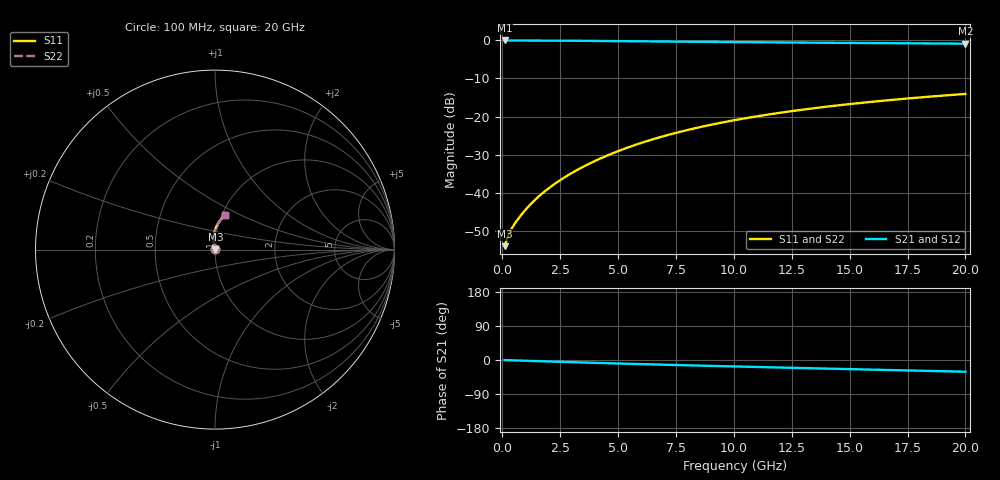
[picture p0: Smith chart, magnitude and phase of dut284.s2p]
! Touchstone file exported from HFSS 2024.1.0
!  File:  C:/UserFiles/LocalFiles/RDL_TSV_Batchsim/temp_RDL_bottom_284_1778703104.aedt
!  Generated:  04:13:42 AM May 14, 2026
!  Design:  RDL_bottom
!  Project:  temp_RDL_bottom_284_1778703104
!  Setup:  Setup1
!  Solution:  Sweep
! Variables:
!  dtsv = 10.80580581um
!  hbump = 3um
!  htsv = 54.44um
!  ldown = 515.46um
!  lrdl = 100um
!  p = 40
!  p1 = 43.28um
!  rhole = 1um
!  t = 450um
!  tdown = 4.01um
!  trdl = 3.915915916um
!  wdown = 29.46um
!  wrdl = 20um
# GHz S MA R 50.000000
! Terminal data exported
! Port[1] = RDL1_T1
! Port[2] = RDL1_T2
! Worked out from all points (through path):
!   200 points, 100 MHz to 20 GHz, reference 50 ohm
!   highest |S21| = -0.02 dB at 100 MHz (marker M1); lowest = -0.9 dB at 20 GHz (marker M2)
!   group delay of S21, straight-line fit = 4.21 ps
!   lowest |S11| = -54.0 dB at 100 MHz (marker M3), VSWR 1.00, Z = 50.2 + j0.0812 ohm
!   |S11| at or under -10 dB: start of sweep to end of sweep
!   |S22| runs from -54.0 to -14.1 dB; largest |S21 - S12| = 4.2e-15
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0.1  0.001987 24.0  0.9982 -0.2  0.9982 -0.2  0.001987 24.0
! Gamma 0 0 0 0
! Port Impedance 50 0 50 0
0.2  0.00248 36.3  0.9979 -0.4  0.9979 -0.4  0.00248 36.3
0.3  0.002939 43.3  0.9977 -0.6  0.9977 -0.6  0.002939 43.3
0.4  0.003356 48.7  0.9975 -0.8  0.9975 -0.8  0.003356 48.7
0.5  0.003761 53.5  0.9974 -1.0  0.9974 -1.0  0.00376 53.5
0.7  0.004594 61.5  0.997 -1.4  0.997 -1.4  0.004593 61.5
0.9  0.005487 67.8  0.9967 -1.8  0.9967 -1.8  0.005487 67.8
1.3  0.007458 77.1  0.9958 -2.5  0.9958 -2.5  0.007458 77.1
1.8  0.01022 84.7  0.9944 -3.5  0.9944 -3.5  0.01022 84.7
2.3  0.01331 89.9  0.9927 -4.4  0.9927 -4.4  0.01331 89.9
2.9  0.01742 94.0  0.9901 -5.5  0.9901 -5.5  0.01743 94.0
3.5  0.02199 96.8  0.9872 -6.6  0.9872 -6.6  0.02199 96.8
4.2  0.02785 98.6  0.9834 -7.9  0.9834 -7.9  0.02785 98.6
5  0.03516 99.6  0.9788 -9.2  0.9788 -9.2  0.03517 99.6
5.9  0.04405 99.6  0.9735 -10.7  0.9735 -10.7  0.04406 99.6
6.8  0.05348 98.9  0.9681 -12.2  0.9681 -12.2  0.05349 98.9
8.4  0.07112 96.6  0.9588 -14.6  0.9588 -14.6  0.07112 96.6
10.1  0.09046 93.4  0.9496 -17.2  0.9496 -17.2  0.09046 93.4
11.7  0.1088 90.2  0.9416 -19.5  0.9416 -19.5  0.1088 90.2
13.4  0.128 86.8  0.9336 -21.9  0.9336 -21.9  0.128 86.8
16.7  0.1642 80.2  0.9192 -26.5  0.9192 -26.5  0.1642 80.2
20  0.1982 74.1  0.9058 -30.9  0.9058 -30.9  0.1982 74.1
